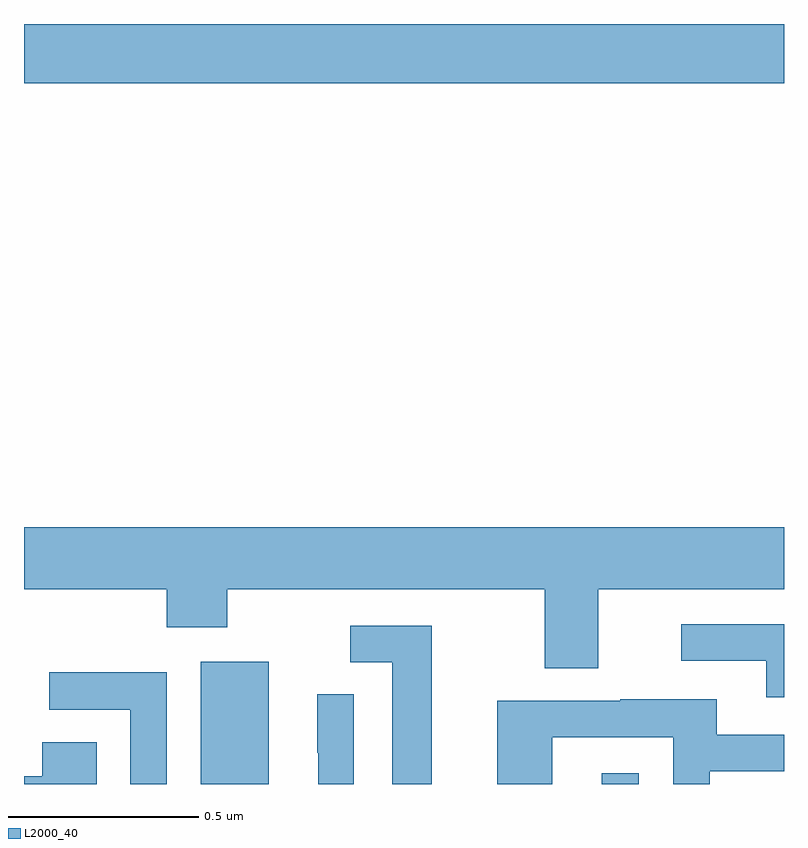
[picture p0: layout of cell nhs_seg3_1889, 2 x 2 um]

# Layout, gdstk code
import gdstk
lib = gdstk.Library(unit=1e-6, precision=1e-09)
def R(c, l, rs):  # rectangles x0, y0, x1, y1
    for r in rs: c.add(gdstk.rectangle(r[:2], r[2:], *l))
def P(c, l, *ps):  # polygons
    for p in ps: c.add(gdstk.Polygon(p, *l))
L2000_40 = (2000, 40)

nhs_seg3_1889 = lib.new_cell('nhs_seg3_1889')
R(nhs_seg3_1889, L2000_40, [(134.465,704.4,134.644,704.722), (135.521,704.4,135.618,704.428), (134,706.244,136,706.4)])
P(nhs_seg3_1889, L2000_40, [(135.511,704.912),(136,704.912),(136,705.076),(134,705.076),(134,704.912),(134.375,704.912),(134.375,704.813),(134.535,704.813),(134.535,704.912),(135.371,704.912),(135.371,704.704),(135.511,704.704)],
  [(136,704.82),(135.729,704.82),(135.729,704.724),(135.953,704.724),(135.953,704.628),(136,704.628)],
  [(135.073,704.817),(134.859,704.817),(134.859,704.721),(134.969,704.721),(134.969,704.4),(135.073,704.4)],
  [(134.376,704.694),(134.067,704.694),(134.067,704.595),(134.28,704.595),(134.28,704.4),(134.376,704.4)],
  [(134.868,704.636),(134.772,704.636),(134.772,704.482),(134.774,704.482),(134.774,704.4),(134.868,704.4)],
  [(135.39,704.523),(135.708,704.523),(135.708,704.4),(135.804,704.4),(135.804,704.433),(136,704.433),(136,704.529),(135.823,704.529),(135.823,704.623),(135.569,704.623),(135.569,704.619),(135.245,704.619),(135.245,704.4),(135.39,704.4)],
  [(134.191,704.51),(134.048,704.51),(134.048,704.42),(134,704.42),(134,704.4),(134.191,704.4)])

lib.write_gds('nhs_seg3_1889.gds')
